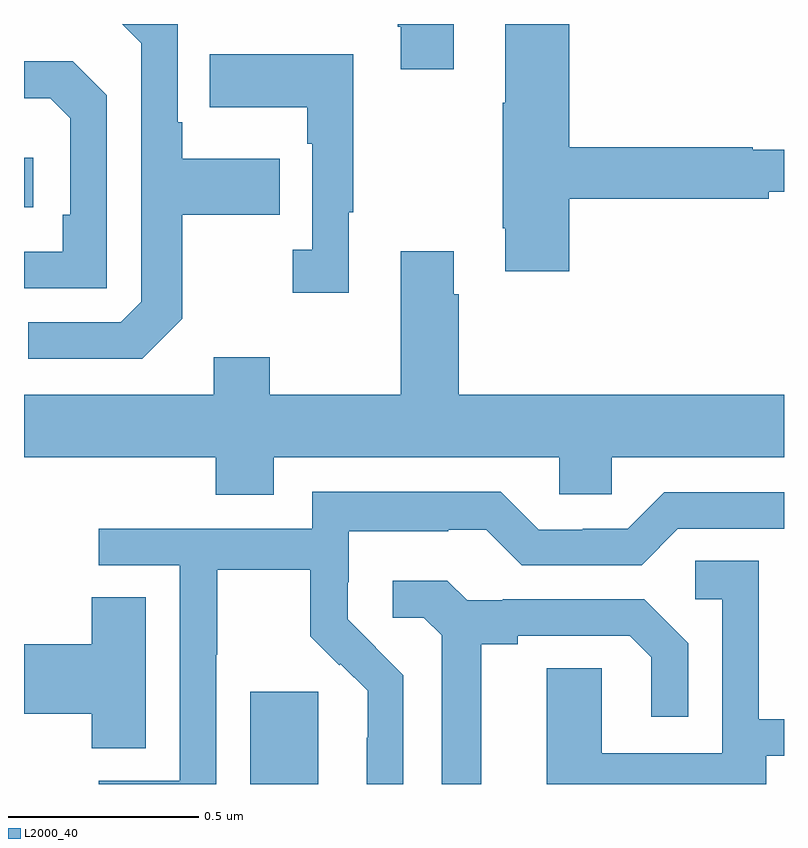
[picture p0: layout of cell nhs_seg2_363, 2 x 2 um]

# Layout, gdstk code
import gdstk
lib = gdstk.Library(unit=1e-6, precision=1e-09)
def R(c, l, rs):  # rectangles x0, y0, x1, y1
    for r in rs: c.add(gdstk.rectangle(r[:2], r[2:], *l))
def P(c, l, *ps):  # polygons
    for p in ps: c.add(gdstk.Polygon(p, *l))
L2000_40 = (2000, 40)

nhs_seg2_363 = lib.new_cell('nhs_seg2_363')
R(nhs_seg2_363, L2000_40, [(115.595,622.8,115.774,623.043), (115,624.318,115.024,624.448)])
P(nhs_seg2_363, L2000_40, [(116.131,624.8),(115.984,624.8),(115.984,624.793),(115.991,624.793),(115.991,624.681),(116.131,624.681)],
  [(115.417,624.025),(115.417,624.298),(115.673,624.298),(115.673,624.445),(115.417,624.445),(115.417,624.541),(115.404,624.541),(115.404,624.8),(115.258,624.8),(115.308,624.75),(115.308,624.069),(115.254,624.015),(115.011,624.015),(115.011,623.919),(115.311,623.919)],
  [(116.435,624.34),(116.96,624.34),(116.96,624.359),(117,624.359),(117,624.469),(116.918,624.469),(116.918,624.476),(116.435,624.476),(116.435,624.8),(116.267,624.8),(116.267,624.593),(116.26,624.593),(116.26,624.262),(116.267,624.262),(116.267,624.15),(116.435,624.15)],
  [(115.855,624.305),(115.867,624.305),(115.867,624.721),(115.489,624.721),(115.489,624.581),(115.746,624.581),(115.746,624.485),(115.758,624.485),(115.758,624.206),(115.707,624.206),(115.707,624.093),(115.855,624.093)],
  [(115.218,624.612),(115.128,624.702),(115,624.702),(115,624.605),(115.069,624.605),(115.122,624.552),(115.122,624.298),(115.102,624.298),(115.102,624.201),(115,624.201),(115,624.105),(115.218,624.105)],
  [(115.657,623.66),(116.409,623.66),(116.409,623.562),(116.547,623.562),(116.547,623.66),(117,623.66),(117,623.824),(116.144,623.824),(116.144,624.089),(116.131,624.089),(116.131,624.202),(115.991,624.202),(115.991,623.824),(115.647,623.824),(115.647,623.923),(115.499,623.923),(115.499,623.824),(115,623.824),(115,623.66),(115.505,623.66),(115.505,623.561),(115.657,623.561)],
  [(115.506,623.14),(115.509,623.14),(115.509,623.364),(115.753,623.364),(115.753,623.189),(115.83,623.112),(115.833,623.115),(115.904,623.045),(115.904,622.922),(115.902,622.922),(115.902,622.8),(115.998,622.8),(115.998,623.086),(115.925,623.159),(115.926,623.16),(115.852,623.234),(115.852,623.331),(115.854,623.331),(115.854,623.465),(116.117,623.465),(116.117,623.469),(116.217,623.469),(116.31,623.376),(116.625,623.376),(116.721,623.472),(117,623.472),(117,623.568),(116.685,623.568),(116.589,623.472),(116.471,623.472),(116.471,623.469),(116.355,623.469),(116.255,623.569),(115.758,623.569),(115.758,623.472),(115.197,623.472),(115.197,623.376),(115.41,623.376),(115.41,622.809),(115.197,622.809),(115.197,622.8),(115.506,622.8)],
  [(116.953,622.875),(117,622.875),(117,622.971),(116.934,622.971),(116.934,623.387),(116.766,623.387),(116.766,623.286),(116.838,623.286),(116.838,622.881),(116.52,622.881),(116.52,623.105),(116.375,623.105),(116.375,622.8),(116.953,622.8)],
  [(116.203,623.168),(116.299,623.168),(116.299,623.19),(116.594,623.19),(116.651,623.133),(116.651,622.977),(116.748,622.977),(116.748,623.17),(116.632,623.286),(116.26,623.286),(116.26,623.283),(116.166,623.283),(116.114,623.335),(115.971,623.335),(115.971,623.238),(116.052,623.238),(116.099,623.191),(116.099,622.8),(116.203,622.8)],
  [(115.321,623.291),(115.178,623.291),(115.178,623.168),(115,623.168),(115,622.985),(115.178,622.985),(115.178,622.894),(115.321,622.894)])

lib.write_gds('nhs_seg2_363.gds')
